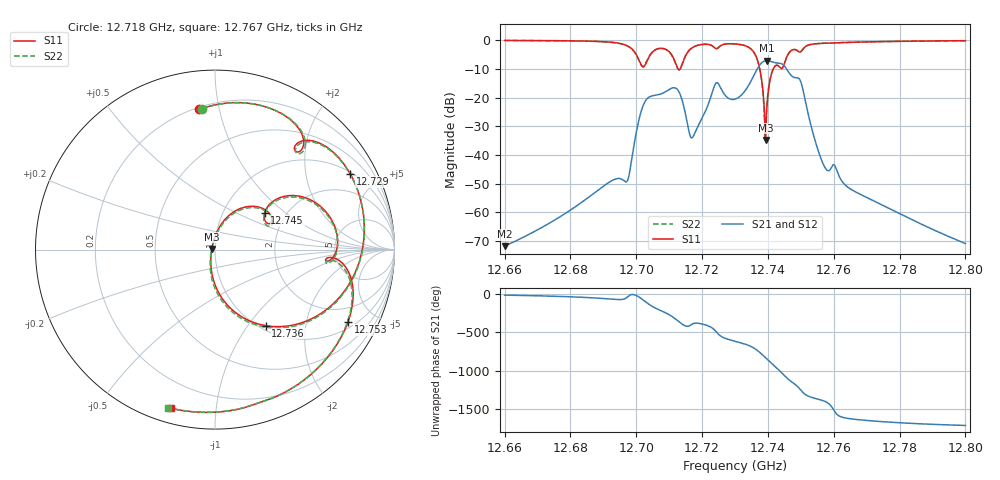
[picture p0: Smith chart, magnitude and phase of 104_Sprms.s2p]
! TOUCHSTONE file generated by CST MICROWAVE STUDIO
! Date and time: Wed Jul 31 16:00:26 2024
! Project name: WaveGuide_BPF-Ver4.1_U-shape_Ku_T3_C4_CWA_2.cst
! Parameters = {cavity_h=16; cavity_l0=10; cavity_l1=15.173; cavity_l2=16.878; cavity_l3=17.102; cavity_l4=17.3033; cavity_l5=17.0966; cavity_l6=17.5659; cavity_r=2.5; cavity_screw_l=0.5; cavity_screw_r=1.5; cavity_w=8; iris_h00=0; iris_h01=8.8023; iris_h112=0; iris_h12=5.5893; iris_h211=3.6669; iri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
! Header version: 2018
! Port assignment regex: !\s*Touchstone port\s*([0-9]+)\s*=\s*(CST MWS port|CST DS port)\s*([0-9]+|Zmin|Zmax)\s*\(\"(.*)\"\)(\s*mode\s*([0-9]+))?.*
! Touchstone port assignment:
! Touchstone port 1 = CST MWS port 1 ("")
! Touchstone port 2 = CST MWS port 2 ("")
# GHz S RI R 50
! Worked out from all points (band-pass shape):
!   5001 points, 12.66 GHz to 12.8 GHz, reference 50 ohm
!   highest |S21| = -7.18 dB at 12.74 GHz (marker M1); lowest = -71.8 dB at 12.66 GHz (marker M2)
!   |S21| within 3 dB of the highest: 12.7367 GHz to 12.74572 GHz (9.017 MHz wide, 0.0708 % of centre)
!   lowest |S11| = -34.8 dB at 12.739 GHz (marker M3), VSWR 1.04, Z = 48.2 + j0.319 ohm
!   |S11| at or under -10 dB: 12.71268 GHz to 12.71339 GHz (707.1 kHz wide, 0.00556 % of centre); 12.73752 GHz to 12.74165 GHz (4.133 MHz wide, 0.0324 % of centre)
!   |S22| runs from -34.4 to -0.1 dB; largest |S21 - S12| = 1e-09
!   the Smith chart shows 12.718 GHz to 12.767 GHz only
!   S11 on the Smith chart (normalised r, x): 12.718 GHz: 0.21, +0.87; 12.729 GHz: 1.06, +3.53; 12.736 GHz: 1.07, -1.22; 12.745 GHz: 1.56, +0.73; 12.753 GHz: 1.25, -3.51; 12.767 GHz: 0.07, -0.76
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12.66  0.1884 0.9663  0.000249 -6.85e-05  0.000249 -6.85e-05  0.194 0.9652
12.68335  0.5722 0.7745  0.00108 -0.00102  0.00108 -0.00102  0.5798 0.7684
12.69713  0.8012 -0.0272  0.00233 -0.00253  0.00233 -0.00253  0.7948 -0.0528
12.70029  0.2703 -0.445  0.0266 -0.0135  0.0266 -0.0135  0.2344 -0.4545
12.70306  -0.3818 0.1428  -0.0333 -0.0858  -0.0333 -0.0858  -0.3873 0.167
12.70668  0.2611 0.6583  -0.1035 0.0416  -0.1035 0.0416  0.2688 0.6565
12.70998  0.6112 0.144  -0.000153 0.1375  -0.000153 0.1375  0.6086 0.1302
12.71253  0.0782 -0.3189  0.1337 0.0319  0.1337 0.0319  0.0519 -0.3168
12.71482  -0.4659 0.2028  0.0323 -0.0456  0.0323 -0.0456  -0.4656 0.2285
12.71799  -0.0877 0.7806  0.024 -0.00856  0.024 -0.00856  -0.0717 0.7855
12.72423  0.4541 0.5448  -0.1146 -0.1372  -0.1146 -0.1372  0.4603 0.5354
12.72854  0.7529 0.4227  -0.0496 0.0796  -0.0496 0.0796  0.7588 0.4105
12.73  0.8112 0.2773  -0.0246 0.0903  -0.0246 0.0903  0.8151 0.263
12.73647  0.2831 -0.4238  0.2917 -0.024  0.2917 -0.024  0.2644 -0.4288
12.73927  -0.018 0.0033  -0.1404 -0.4122  -0.1404 -0.4122  -0.0159 0.0159
12.73969  -0.00222 0.0661  -0.2552 -0.3555  -0.2552 -0.3555  0.00429 0.0767
12.74462  0.2768 0.205  0.3089 0.2082  0.3089 0.2082  0.2744 0.1943
12.75327  0.7408 -0.4035  -0.00223 0.0295  -0.00223 0.0295  0.7305 -0.4227
12.75335  0.7372 -0.4134  -0.00157 0.0283  -0.00157 0.0283  0.7267 -0.4324
12.76651  -0.2424 -0.8849  -0.00224 0.000455  -0.00224 0.000455  -0.2611 -0.8804
12.77668  -0.7303 -0.5988  -0.000803 0.000862  -0.000803 0.000862  -0.7399 -0.588
12.8  -0.9723 0.065  3.93e-06 0.000286  3.93e-06 0.000286  -0.972 0.073
